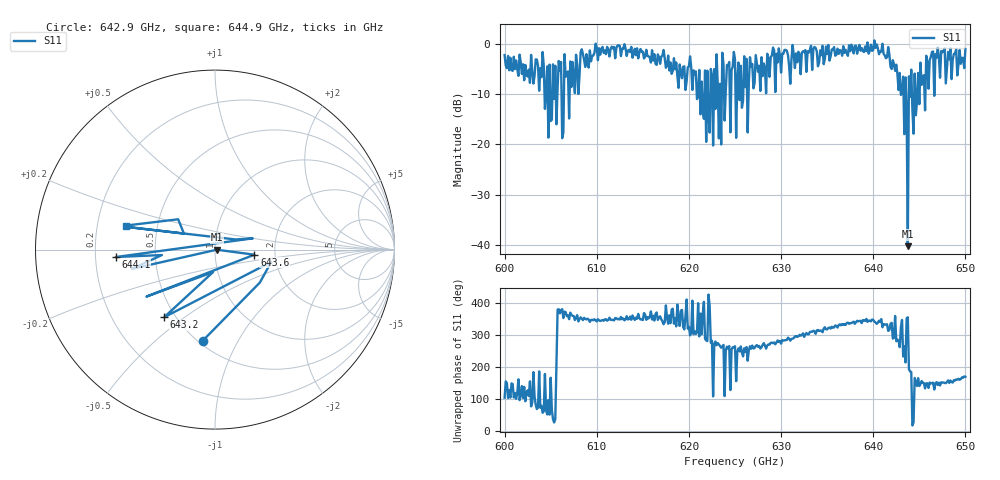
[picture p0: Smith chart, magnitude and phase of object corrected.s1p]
!Created with skrf (http://scikit-rf.org).
# GHz S MA R 50.0
!freq magS11 angS11
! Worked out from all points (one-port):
!   401 points, 600 GHz to 650 GHz, reference 50 ohm
!   lowest |S11| = -40.3 dB at 643.8 GHz (marker M1), VSWR 1.02, Z = 51 - j0.0674 ohm
!   |S11| at or under -10 dB: 604.9402 GHz to 605.183 GHz (242.8 MHz wide, 0.0401 % of centre); 606.1777 GHz to 606.4365 GHz (258.8 MHz wide, 0.0427 % of centre); 620.8523 GHz to 621.008 GHz (155.7 MHz wide, 0.0251 % of centre)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
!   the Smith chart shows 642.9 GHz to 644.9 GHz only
!   S11 on the Smith chart (normalised r, x): 642.9 GHz: 0.53, -0.73; 643.2 GHz: 0.44, -0.42; 643.6 GHz: 1.56, -0.09; 644.1 GHz: 0.29, -0.03; 644.9 GHz: 0.33, +0.12
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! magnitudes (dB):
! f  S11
! 600 GHz  -2.2
! 604 GHz  -6.7
! 604.9 GHz  -4.1
! 605.8 GHz  -8.7
! 606.2 GHz  -18.8
! 608.5 GHz  -2.0
! 612.5 GHz  -0.4
! 618.8 GHz  -6.5
! 620.2 GHz  -4.7
! 622.4 GHz  -5.0
! 622.8 GHz  -5.0
! 623.4 GHz  -8.0
! 623.9 GHz  -15.3
! 625 GHz  -3.1
! 626.1 GHz  -8.6
! 630.4 GHz  -1.2
! 631.2 GHz  -0.2
! 637.5 GHz  -1.5
! 641.5 GHz  -2.7
! 642.9 GHz  -5.8
! 643.2 GHz  -6.5
! 643.6 GHz  -13.1
! 643.8 GHz  -40.3
! 644 GHz  -10.5
! 644.1 GHz  -5.1
! 644.9 GHz  -5.8
! 646.2 GHz  -2.6
! 650 GHz  -1.1
